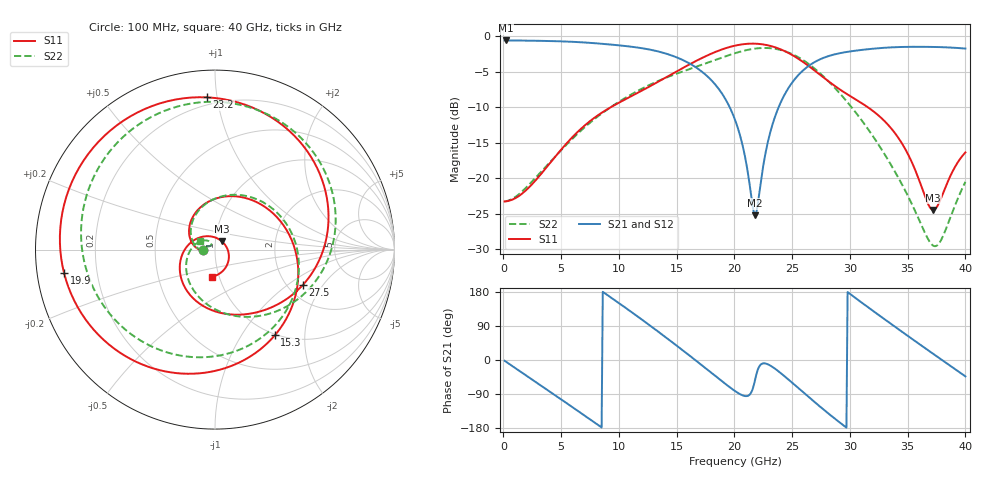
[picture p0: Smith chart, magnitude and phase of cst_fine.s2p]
! B_s8_L1L3_stub_d200: L1→L3, through via (stub to L8), drill Ø0.2
! stackup: 8-layer 1.6 mm FR-4 (generic)
! ports: 1, 2
! CST Studio Suite 2025.5 Release from 2025-05-30, time domain (FIT, hexahedral, PBA), 386496 mesh cells, 76 s
! mesh: {'lpw': 30.0, 'lpb': 30.0, 'minstep': 0.0, 'ratio': 20}; ports: port 1 (face); port 2 (face)
! interpolated from CST's 1001 samples to the case grid
# Hz S RI R 50
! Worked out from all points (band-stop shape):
!   400 points, 100 MHz to 40 GHz, reference 50 ohm
!   highest |S21| = -0.62 dB at 200 MHz (marker M1); lowest = -25.2 dB at 21.8 GHz (marker M2)
!   |S21| within 3 dB of the highest: start of sweep to 15.83 GHz; 26.99 GHz to end of sweep
!   lowest |S11| = -24.5 dB at 37.2 GHz (marker M3), VSWR 1.13, Z = 53.8 + j4.92 ohm
!   |S11| at or under -10 dB: start of sweep to 9.309 GHz; 31.54 GHz to end of sweep
!   |S22| runs from -29.6 to -1.7 dB; largest |S21 - S12| = 1.7e-05
!   S11 on the Smith chart (normalised r, x): 100 MHz: 0.87, -0.00; 15.3 GHz: 0.98, -1.42; 19.9 GHz: 0.08, -0.08; 23.2 GHz: 0.15, +0.94; 27.5 GHz: 2.41, -1.31; 40 GHz: 0.93, -0.29
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1e8  -0.0685 -0.000229  0.9308 -0.0337  0.9308 -0.0337  -0.0687 -0.000277
2e8  -0.0687 -0.000455  0.9289 -0.0674  0.9289 -0.0674  -0.0688 -0.000549
1.8e9  -0.0801 -0.00134  0.7388 -0.5638  0.7388 -0.5638  -0.0833 0.000502
3.7e9  -0.1164 0.0215  0.2106 -0.8996  0.2105 -0.8996  -0.117 0.0321
6.8e9  -0.1171 0.1932  -0.7113 -0.5575  -0.7113 -0.5575  -0.1108 0.1893
9.7e9  0.1542 0.2912  -0.7936 0.3449  -0.7936 0.3449  0.1333 0.3047
1.17e10  0.3739 0.1461  -0.3242 0.7623  -0.3242 0.7623  0.3778 0.1705
1.34e10  0.4637 -0.113  0.2036 0.7522  0.2036 0.7521  0.4662 -0.1265
1.53e10  0.3336 -0.477  0.5936 0.3548  0.5936 0.3548  0.2523 -0.4944
1.78e10  -0.3113 -0.671  0.445 -0.2452  0.445 -0.2452  -0.415 -0.5065
1.99e10  -0.8405 -0.1319  0.0546 -0.2715  0.0546 -0.2715  -0.7463 0.0852
2.01e10  -0.8567 -0.0494  0.0313 -0.2492  0.0313 -0.2492  -0.7434 0.1581
2.18e10  -0.6165 0.6337  0.0348 -0.0425  0.0348 -0.0425  -0.4219 0.6992
2.32e10  -0.0436 0.8481  0.2155 -0.0636  0.2155 -0.0636  0.1067 0.8132
2.5e10  0.5535 0.485  0.2356 -0.4075  0.2356 -0.4075  0.6206 0.4155
2.67e10  0.5917 -0.0332  -0.1618 -0.6174  -0.1618 -0.6174  0.6024 -0.1106
2.75e10  0.4895 -0.1967  -0.3986 -0.5645  -0.3986 -0.5645  0.4648 -0.2736
3.03e10  0.0701 -0.3595  -0.7677 0.1672  -0.7677 0.1672  -0.0504 -0.3
3.34e10  -0.195 -0.1271  -0.1268 0.8215  -0.1268 0.8215  -0.1303 0.00683
3.51e10  -0.1392 0.0355  0.3982 0.7393  0.3982 0.7394  -0.0517 0.0513
3.72e10  0.0386 0.0456  0.8038 0.2386  0.8038 0.2386  -0.0226 0.0247
4e10  -0.0159 -0.1509  0.5948 -0.5594  0.5948 -0.5593  -0.0809 0.0482
